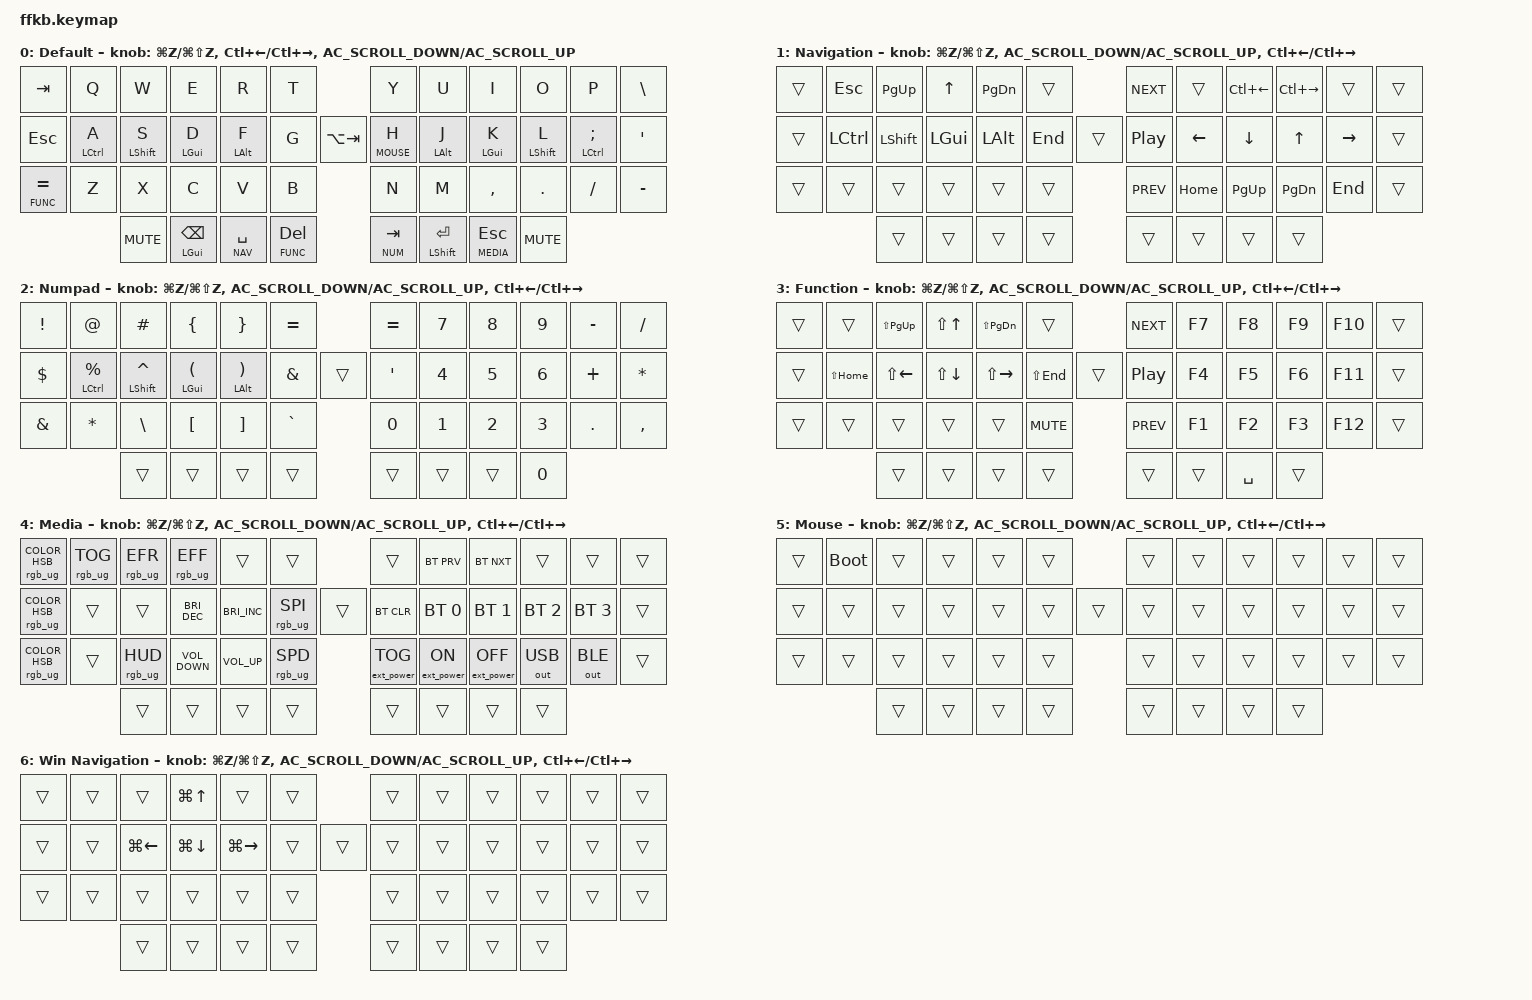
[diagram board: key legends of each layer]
#include <behaviors.dtsi>
#include <dt-bindings/zmk/keys.h>
#include <dt-bindings/zmk/rgb.h>
#include <dt-bindings/zmk/bt.h>
#include <dt-bindings/zmk/ext_power.h>
#include <dt-bindings/zmk/outputs.h>

#define DEFAULT 0
#define NAV     1
#define NUM     2
#define FUNC    3
#define MEDIA   4
#define MOUSE   5
#define WINNAV  6

&caps_word {
    continue-list = <UNDERSCORE MINUS>;
};

/ {
    combos {
        compatible = "zmk,combos";
        combo_undo {
            timeout-ms = <50>;
            key-positions = <26 27>;
            bindings = <&kp LC(Z)>;
        };
        combo_q {
            timeout-ms = <50>;
            key-positions = <27 28>;
            bindings = <&kp Q>;
        };
        combo_semicolon {
            timeout-ms = <50>;
            key-positions = <33 34>;
            bindings = <&kp SEMI>;
        };
    };
};

/ {

    sensors {
        compatible = "zmk,keymap-sensors";
        sensors = <&encoder_1 &encoder_2 &encoder_3>;
    };

    behaviors {
        hm: homerow_mods {
            compatible = "zmk,behavior-hold-tap";
            label = "HOMEROW_MODS";
            #binding-cells = <2>;
            tapping-term-ms = <200>;
            quick_tap_ms = <0>;
            flavor = "balanced";
            bindings = <&kp>, <&kp>;
        };
        hs: homerow_shift {
            compatible = "zmk,behavior-hold-tap";
            label = "HOMEROW_SHIFT";
            #binding-cells = <2>;
            tapping-term-ms = <150>;
            quick_tap_ms = <0>;
            flavor = "balanced";
            bindings = <&kp>, <&kp>;
        };
    };

    keymap {
        compatible = "zmk,keymap";

        default_layer {
            label = "Default";

            sensor-bindings = <&inc_dec_kp LG(Z) LG(LS(Z)) &inc_dec_kp LC(LEFT) LC(RIGHT) &inc_dec_kp C_AC_SCROLL_DOWN C_AC_SCROLL_UP>;

            bindings = <
    &kp TAB        &kp Q        &kp W          &kp E       &kp R         &kp T                                       &kp Y         &kp U        &kp I         &kp O         &kp P           &kp BSLH
    &kp ESC        &hm LCTL A   &hm LSHIFT S   &hm LGUI D  &hm LALT F    &kp G            &kp LA(TAB)                &lt MOUSE H   &hm LALT J   &hm LGUI K    &hm LSHIFT L  &hm LCTRL SEMI  &kp SQT
    &lt FUNC EQUAL &kp Z        &kp X          &kp C       &kp V         &kp B                                       &kp N         &kp M        &kp COMMA     &kp DOT       &kp FSLH        &kp MINUS
                                &kp C_MUTE     &hm LGUI BSPC   &lt NAV SPACE  &lt FUNC DEL                    &lt NUM TAB   &hs LSHIFT RET &lt MEDIA ESC      &kp C_MUTE
            >;
        };

        nav_layer {
            label = "Navigation";
            
            sensor-bindings = <&inc_dec_kp LG(Z) LG(LS(Z)) &inc_dec_kp C_AC_SCROLL_DOWN C_AC_SCROLL_UP &inc_dec_kp LC(LEFT) LC(RIGHT)>;
            
            bindings = <
    &trans     &kp ESC      &kp PG_UP    &kp UP      &kp PG_DN     &trans                                      &kp C_NEXT            &trans         &kp LC(LEFT)    &kp LC(RIGHT)   &trans      &trans
    &trans     &kp LCTL     &kp LSHIFT   &kp LGUI    &kp LALT      &kp END              &trans                 &kp C_PLAY_PAUSE      &kp LEFT       &kp DOWN        &kp UP          &kp RIGHT   &trans
    &trans     &trans       &trans       &trans      &trans        &trans                                      &kp C_PREV            &kp HOME       &kp PG_UP       &kp PG_DN       &kp END     &trans
                                         &trans      &trans        &trans       &trans       &trans         &trans     &trans      &trans
            >;
        };

        num_layer {
            label = "Numpad";
            
            sensor-bindings = <&inc_dec_kp LG(Z) LG(LS(Z)) &inc_dec_kp C_AC_SCROLL_DOWN C_AC_SCROLL_UP &inc_dec_kp LC(LEFT) LC(RIGHT)>;
            
            bindings = <
    &kp EXCL     &kp AT            &kp HASH           &kp LBRC           &kp RBRC         &kp EQUAL                                   &kp EQUAL     &kp N7          &kp N8     &kp N9   &kp MINUS   &kp FSLH
    &kp DLLR     &hm LCTL PRCNT    &hm LSHIFT CARET   &hm LGUI LPAR      &hm LALT RPAR    &kp AMPS              &trans                &kp SQT       &kp N4          &kp N5     &kp N6   &kp PLUS    &kp STAR
    &kp AMPS     &kp STAR          &kp BSLH           &kp LBKT           &kp RBKT         &kp GRAVE                                   &kp N0        &kp N1          &kp N2     &kp N3   &kp DOT     &kp COMMA
                                         &trans          &trans           &trans       &trans        &trans       &trans        &trans            &kp N0
            >;
        };

        func_layer {
            label = "Function";

            sensor-bindings = <&inc_dec_kp LG(Z) LG(LS(Z)) &inc_dec_kp C_AC_SCROLL_DOWN C_AC_SCROLL_UP &inc_dec_kp LC(LEFT) LC(RIGHT)>;
            
            bindings = <
    &trans     &trans       &kp LS(PG_UP) &kp LS(UP)   &kp LS(PG_DN) &trans                                      &kp C_NEXT       &kp F7       &kp F8        &kp F9      &kp F10     &trans
    &trans     &kp LS(HOME) &kp LS(LEFT)  &kp LS(DOWN) &kp LS(RIGHT) &kp LS(END)           &trans                &kp C_PLAY_PAUSE &kp F4       &kp F5        &kp F6      &kp F11     &trans
    &trans     &trans       &trans        &trans       &trans        &kp C_MUTE                                  &kp C_PREV       &kp F1       &kp F2        &kp F3      &kp F12     &trans
                                          &trans       &trans        &trans        &trans         &trans         &trans           &kp SPACE    &trans
            >;
        };

        media_layer {
            label = "Media";
            
            sensor-bindings = <&inc_dec_kp LG(Z) LG(LS(Z)) &inc_dec_kp C_AC_SCROLL_DOWN C_AC_SCROLL_UP &inc_dec_kp LC(LEFT) LC(RIGHT)>;
            
            bindings = <
    &rgb_ug RGB_COLOR_HSB(0,0,100)         &rgb_ug RGB_TOG  &rgb_ug RGB_EFR  &rgb_ug RGB_EFF       &trans                &trans                            &trans             &bt BT_PRV        &bt BT_NXT         &trans         &trans          &trans
    &rgb_ug RGB_COLOR_HSB(224,100,100)     &trans           &trans           &kp C_BRIGHTNESS_DEC  &kp C_BRIGHTNESS_INC  &rgb_ug RGB_SPI      &trans       &bt BT_CLR         &bt BT_SEL 0      &bt BT_SEL 1       &bt BT_SEL 2   &bt BT_SEL 3    &trans
    &rgb_ug RGB_COLOR_HSB(278,100,100)     &trans           &rgb_ug RGB_HUD  &kp C_VOLUME_DOWN     &kp C_VOLUME_UP       &rgb_ug RGB_SPD                   &ext_power EP_TOG  &ext_power EP_ON  &ext_power EP_OFF  &out OUT_USB   &out OUT_BLE    &trans
                                                                            &trans          &trans            &trans        &trans         &trans         &trans           &trans     &trans
            >;
        };

        mouse_layer {
            label = "Mouse";
            
            sensor-bindings = <&inc_dec_kp LG(Z) LG(LS(Z)) &inc_dec_kp C_AC_SCROLL_DOWN C_AC_SCROLL_UP &inc_dec_kp LC(LEFT) LC(RIGHT)>;
            
            bindings = <
    &trans     &bootloader &trans      &trans      &trans      &trans                                           &trans      &trans      &trans      &trans      &trans      &trans
    &trans     &trans      &trans      &trans      &trans      &trans                   &trans                  &trans      &trans      &trans      &trans      &trans      &trans
    &trans     &trans      &trans      &trans      &trans      &trans                                           &trans      &trans      &trans      &trans      &trans      &trans
                                         &trans      &trans        &trans        &trans         &trans          &trans      &trans      &trans
            >;
        };

        winnav_layer {
            label = "Win Navigation";
            
            sensor-bindings = <&inc_dec_kp LG(Z) LG(LS(Z)) &inc_dec_kp C_AC_SCROLL_DOWN C_AC_SCROLL_UP &inc_dec_kp LC(LEFT) LC(RIGHT)>;
            
            bindings = <
    &trans     &trans       &trans       &kp LG(UP)   &trans        &trans                                      &trans      &trans      &trans      &trans      &trans      &trans
    &trans     &trans       &kp LG(LEFT) &kp LG(DOWN) &kp LG(RIGHT) &trans                &trans                &trans      &trans      &trans      &trans      &trans      &trans
    &trans     &trans       &trans       &trans       &trans        &trans                                      &trans      &trans      &trans      &trans      &trans      &trans
                                         &trans       &trans        &trans        &trans         &trans         &trans        &trans       &trans
            >;
        };
    };
};
